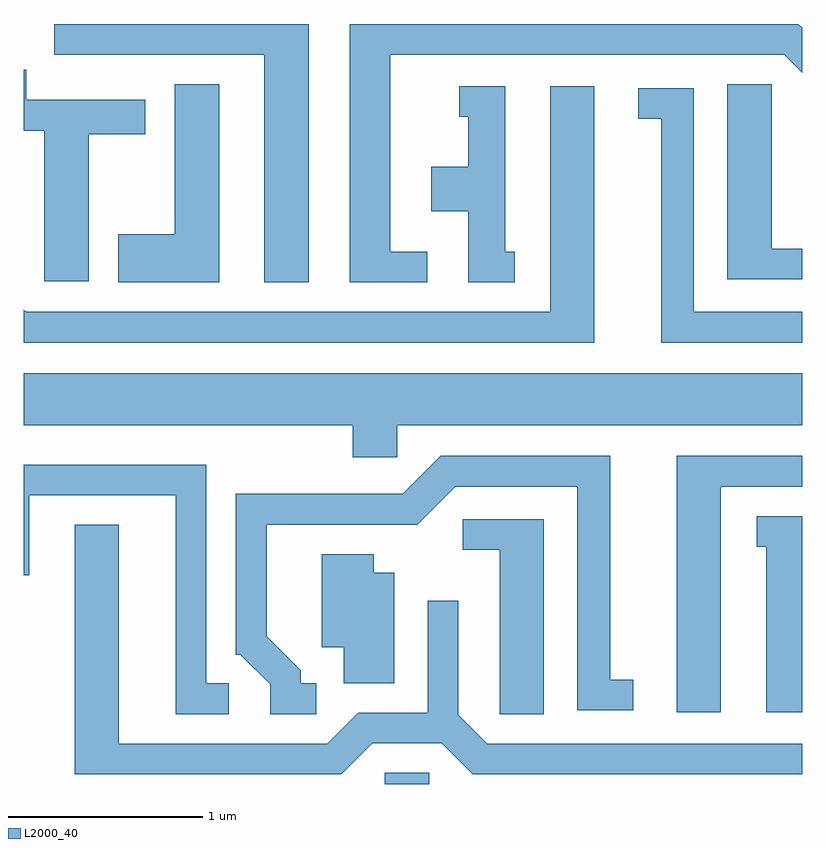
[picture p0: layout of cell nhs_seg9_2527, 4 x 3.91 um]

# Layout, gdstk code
import gdstk
lib = gdstk.Library(unit=1e-6, precision=1e-09)
def R(c, l, rs):  # rectangles x0, y0, x1, y1
    for r in rs: c.add(gdstk.rectangle(r[:2], r[2:], *l))
def P(c, l, *ps):  # polygons
    for p in ps: c.add(gdstk.Polygon(p, *l))
L2000_40 = (2000, 40)

nhs_seg9_2527 = lib.new_cell('nhs_seg9_2527')
R(nhs_seg9_2527, L2000_40, [(261.466,1974.432,261.694,1974.489)])
P(nhs_seg9_2527, L2000_40, [(261.683,1977.169),(261.494,1977.169),(261.494,1978.181),(263.519,1978.181),(263.611,1978.089),(263.611,1978.32),(263.592,1978.339),(261.286,1978.339),(261.286,1977.011),(261.683,1977.011)],
  [(261.074,1978.339),(259.767,1978.339),(259.767,1978.181),(260.846,1978.181),(260.846,1977.011),(261.074,1977.011)],
  [(259.944,1977.771),(260.234,1977.771),(260.234,1977.949),(259.624,1977.949),(259.624,1978.103),(259.611,1978.103),(259.611,1977.791),(259.716,1977.791),(259.716,1977.016),(259.944,1977.016)],
  [(263.611,1977.184),(263.454,1977.184),(263.454,1978.029),(263.226,1978.029),(263.226,1977.026),(263.611,1977.026)],
  [(260.614,1978.029),(260.386,1978.029),(260.386,1977.259),(260.096,1977.259),(260.096,1977.011),(260.614,1977.011)],
  [(262.544,1978.019),(262.316,1978.019),(262.316,1976.859),(259.622,1976.859),(259.611,1976.87),(259.611,1976.701),(262.544,1976.701)],
  [(262.133,1977.169),(262.084,1977.169),(262.084,1978.019),(261.848,1978.019),(261.848,1977.861),(261.896,1977.861),(261.896,1977.604),(261.706,1977.604),(261.706,1977.376),(261.896,1977.376),(261.896,1977.011),(262.133,1977.011)],
  [(263.611,1976.859),(263.054,1976.859),(263.054,1978.009),(262.768,1978.009),(262.768,1977.851),(262.886,1977.851),(262.886,1976.701),(263.611,1976.701)],
  [(261.529,1976.276),(263.611,1976.276),(263.611,1976.544),(259.611,1976.544),(259.611,1976.276),(261.301,1976.276),(261.301,1976.111),(261.529,1976.111)],
  [(261.113,1974.949),(261.034,1974.949),(261.034,1975.017),(260.859,1975.192),(260.859,1975.766),(261.632,1975.766),(261.827,1975.961),(262.456,1975.961),(262.456,1974.811),(262.743,1974.811),(262.743,1974.969),(262.624,1974.969),(262.624,1976.119),(261.754,1976.119),(261.558,1975.924),(260.701,1975.924),(260.701,1975.096),(260.724,1975.096),(260.876,1974.944),(260.876,1974.791),(261.113,1974.791)],
  [(263.194,1975.961),(263.611,1975.961),(263.611,1976.119),(262.966,1976.119),(262.966,1974.801),(263.194,1974.801)],
  [(260.663,1974.949),(260.549,1974.949),(260.549,1976.074),(259.611,1976.074),(259.611,1975.506),(259.639,1975.506),(259.639,1975.916),(260.391,1975.916),(260.391,1974.791),(260.663,1974.791)],
  [(263.611,1975.809),(263.378,1975.809),(263.378,1975.651),(263.426,1975.651),(263.426,1974.801),(263.611,1974.801)],
  [(262.284,1975.794),(261.868,1975.794),(261.868,1975.636),(262.056,1975.636),(262.056,1974.791),(262.284,1974.791)],
  [(261.402,1974.641),(261.759,1974.641),(261.919,1974.481),(263.611,1974.481),(263.611,1974.639),(261.992,1974.639),(261.844,1974.787),(261.844,1975.373),(261.686,1975.373),(261.686,1974.799),(261.329,1974.799),(261.169,1974.639),(260.099,1974.639),(260.099,1975.764),(259.871,1975.764),(259.871,1974.481),(261.242,1974.481)],
  [(261.514,1975.519),(261.409,1975.519),(261.409,1975.614),(261.141,1975.614),(261.141,1975.136),(261.256,1975.136),(261.256,1974.951),(261.514,1974.951)])

lib.write_gds('nhs_seg9_2527.gds')
